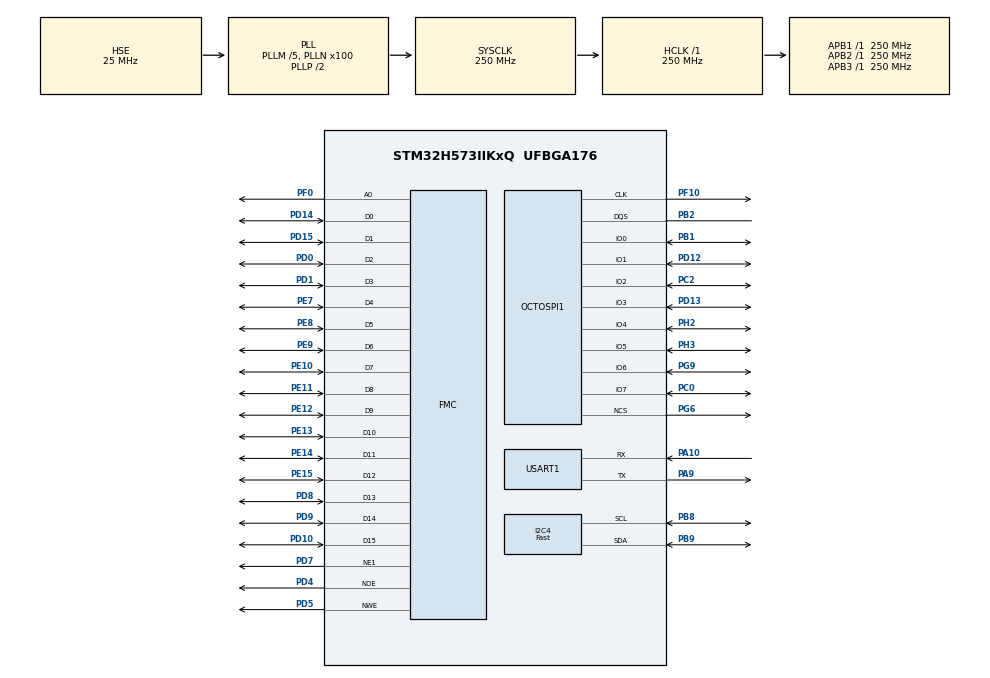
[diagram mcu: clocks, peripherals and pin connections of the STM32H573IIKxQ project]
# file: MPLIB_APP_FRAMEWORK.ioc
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BOOTPATH.BootPathName=LEGACY
BOOTPATH.UserSelectedBootPath=LEGACY
CORTEX_M33_NS.AccessPermission-Cortex_Memory_Protection_Unit_Region0_Settings=MPU_REGION_ALL_RW
CORTEX_M33_NS.Attributes0=MPU_ATTRIBUTES_NUMBER0
CORTEX_M33_NS.AttributesIndex-Cortex_Memory_Protection_Unit_Region0_Settings=MPU_ATTRIBUTES_NUMBER0
CORTEX_M33_NS.BaseAddress-Cortex_Memory_Protection_Unit_Region0_Settings=0x60000000
CORTEX_M33_NS.DisableExec-Cortex_Memory_Protection_Unit_Region0_Settings=MPU_INSTRUCTION_ACCESS_DISABLE
CORTEX_M33_NS.Enable-Cortex_Memory_Protection_Unit_Region0_Settings=MPU_REGION_ENABLE
CORTEX_M33_NS.LimitAddress-Cortex_Memory_Protection_Unit_Region0_Settings=0x60000004
CORTEX_M33_NS.MPU_Control=MPU_PRIVILEGED_DEFAULT
CORTEX_M33_NS.userName=CORTEX_M33
FMC.AddressSetupTime1=10
FMC.BusTurnAroundDuration1=4
FMC.DataHoldTime1=2
FMC.DataSetupTime1=7
FMC.WriteFifo1=FMC_WRITE_FIFO_DISABLE
FMC.WriteFifo2=FMC_WRITE_FIFO_DISABLE
FMC.WriteFifo3=FMC_WRITE_FIFO_DISABLE
FMC.WriteFifo4=FMC_WRITE_FIFO_DISABLE
GPDMA2.PRIORITY_LL_GPDMACH6=DMA_HIGH_PRIORITY
I2C4.I2C_Speed_Mode=I2C_Fast
I2C4.Timing=0x10C043E5
Mcu.Family=STM32H5
Mcu.Name=STM32H573IIKxQ
Mcu.Package=UFBGA176
NVIC.GPDMA2_Channel6_IRQn=true\:0\:0\:false\:false\:true\:false\:true\:true\:true
NVIC.PriorityGroup=NVIC_PRIORITYGROUP_4
NVIC.TIM6_IRQn=true\:7\:0\:true\:false\:true\:false\:false\:true\:true
NVIC.TimeBase=TIM6_IRQn
NVIC.TimeBaseIP=TIM6
OCTOSPI1.ChipSelectHighTimeCycle=2
OCTOSPI1.ClockPrescaler=1
OCTOSPI1.DelayBlockBypass=HAL_XSPI_DELAY_BLOCK_ON
OCTOSPI1.DelayHoldQuarterCycle=HAL_XSPI_DHQC_ENABLE
OCTOSPI1.MemorySize=HAL_XSPI_SIZE_64B
OCTOSPI1.MemoryType=HAL_XSPI_MEMTYPE_MACRONIX
PA10.Mode=Asynchronous
PA10.Signal=USART1_RX
PA9.Mode=Asynchronous
PA9.Signal=USART1_TX
PB1.Mode=OCTOSPI1_IO_Octo
PB1.Signal=OCTOSPI1_IO0
PB2.Mode=octods_mode
PB2.Signal=OCTOSPI1_DQS
PB8.Mode=I2C
PB8.Signal=I2C4_SCL
PB9.Mode=I2C
PB9.Signal=I2C4_SDA
PC0.Mode=OCTOSPI1_IO_Octo
PC0.Signal=OCTOSPI1_IO7
PC2.Mode=OCTOSPI1_IO_Octo
PC2.Signal=OCTOSPI1_IO2
PD0.Signal=FMC_D2_DA2
PD1.Signal=FMC_D3_DA3
PD10.Signal=FMC_D15_DA15
PD12.Mode=OCTOSPI1_IO_Octo
PD12.Signal=OCTOSPI1_IO1
PD13.Mode=OCTOSPI1_IO_Octo
PD13.Signal=OCTOSPI1_IO3
PD14.Signal=FMC_D0_DA0
PD15.Signal=FMC_D1_DA1
PD4.Signal=FMC_NOE
PD5.Signal=FMC_NWE
PD7.Mode=NorPsramChipSelect1_1
PD7.Signal=FMC_NE1
PD8.Signal=FMC_D13_DA13
PD9.Signal=FMC_D14_DA14
PE10.Signal=FMC_D7_DA7
PE11.Signal=FMC_D8_DA8
PE12.Signal=FMC_D9_DA9
PE13.Signal=FMC_D10_DA10
PE14.Signal=FMC_D11_DA11
PE15.Signal=FMC_D12_DA12
PE7.Signal=FMC_D4_DA4
PE8.Signal=FMC_D5_DA5
PE9.Signal=FMC_D6_DA6
PF0.Signal=FMC_A0
PF10.Mode=octods_mode
PF10.Signal=OCTOSPI1_CLK
PG6.Mode=octods_mode
PG6.Signal=OCTOSPI1_NCS
PG9.Mode=OCTOSPI1_IO_Octo
PG9.Signal=OCTOSPI1_IO6
PH0-OSC_IN(PH0).Mode=HSE-External-Clock-Source
PH0-OSC_IN(PH0).Signal=RCC_OSC_IN
PH2.Mode=OCTOSPI1_IO_Octo
PH2.Signal=OCTOSPI1_IO4
PH3.Mode=OCTOSPI1_IO_Octo
PH3.Signal=OCTOSPI1_IO5
ProjectManager.HeapSize=0x200
ProjectManager.StackSize=0x400
ProjectManager.TargetToolchain=STM32CubeIDE
RCC.ADCFreq_Value=250000000
RCC.AHBFreq_Value=250000000
RCC.APB1Freq_Value=250000000
RCC.APB1TimFreq_Value=250000000
RCC.APB2Freq_Value=250000000
RCC.APB2TimFreq_Value=250000000
RCC.APB3Freq_Value=250000000
RCC.CSI_VALUE=4000000
RCC.CortexFreq_Value=250000000
RCC.EPOD_VALUE=25000000
RCC.HCLKFreq_Value=250000000
RCC.HSE_VALUE=25000000
RCC.HSI48_VALUE=48000000
RCC.HSIDiv=RCC_HSI_DIV1
RCC.HSI_VALUE=64000000
RCC.LSE_VALUE=32768
RCC.LSIRC_VALUE=32000
RCC.PLLM=5
RCC.PLLN=100
RCC.PLLSourceVirtual=RCC_PLL1_SOURCE_HSE
RCC.SYSCLKFreq_VALUE=250000000
RCC.SYSCLKSource=RCC_SYSCLKSOURCE_PLLCLK
RCC.USBFreq_Value=48000000
RCC.VCOOutputFreq_Value=500000000
SAES.KeyMode=CRYP_KEYMODE_WRAPPED
SAES.KeySelect=CRYP_KEYSEL_HW
SAES.KeySize=CRYP_KEYSIZE_256B
SH.FMC_A0.0=FMC_A0,A0_1
SH.FMC_D0_DA0.0=FMC_D0,16b-d1
SH.FMC_D10_DA10.0=FMC_D10,16b-d1
SH.FMC_D11_DA11.0=FMC_D11,16b-d1
SH.FMC_D12_DA12.0=FMC_D12,16b-d1
SH.FMC_D13_DA13.0=FMC_D13,16b-d1
SH.FMC_D14_DA14.0=FMC_D14,16b-d1
SH.FMC_D15_DA15.0=FMC_D15,16b-d1
SH.FMC_D1_DA1.0=FMC_D1,16b-d1
SH.FMC_D2_DA2.0=FMC_D2,16b-d1
SH.FMC_D3_DA3.0=FMC_D3,16b-d1
SH.FMC_D4_DA4.0=FMC_D4,16b-d1
SH.FMC_D5_DA5.0=FMC_D5,16b-d1
SH.FMC_D6_DA6.0=FMC_D6,16b-d1
SH.FMC_D7_DA7.0=FMC_D7,16b-d1
SH.FMC_D8_DA8.0=FMC_D8,16b-d1
SH.FMC_D9_DA9.0=FMC_D9,16b-d1
SH.FMC_NOE.0=FMC_NOE,Lcd1
SH.FMC_NWE.0=FMC_NWE,Lcd1
STMicroelectronics.X-CUBE-TOUCHGFX.4.24.2.ApplicationCcGraphicsJjApplication=TouchGFXOoGenerator
STMicroelectronics.X-CUBE-TOUCHGFX.4.24.2.tgfx_buffering_strategy=Double
STMicroelectronics.X-CUBE-TOUCHGFX.4.24.2.tgfx_custom_height=240
STMicroelectronics.X-CUBE-TOUCHGFX.4.24.2.tgfx_custom_width=240
STMicroelectronics.X-CUBE-TOUCHGFX.4.24.2.tgfx_display_interface=disp_fmc
STMicroelectronics.X-CUBE-TOUCHGFX.4.24.2.tgfx_oswrapper=ThreadX
STMicroelectronics.X-CUBE-TOUCHGFX.4.24.2.tgfx_vector_fonts=Enabled
STMicroelectronics.X-CUBE-TOUCHGFX.4.24.2.tgfx_vector_rendering=Software
STMicroelectronics.X-CUBE-TOUCHGFX.4.24.2_IsPackSelfContextualization=true
THREADX.TX_APP_CREATION=1
THREADX.TX_APP_GENERATE_INIT_CODE=true
THREADX.TX_APP_THREAD_ENTRY=StartDefaultTask
USART1.VirtualMode-Asynchronous=VM_ASYNC
USART1.WordLength=WORDLENGTH_8B
VP_BOOTPATH_VS_BOOTPATH.Mode=BP_Activate
VP_CORTEX_M33_NS_VS_Hclk.Mode=Hclk_Mode
VP_CRC_VS_CRC.Mode=CRC_Activate
VP_DCACHE1_VS_DCACHE.Mode=DCACHE_Activate
VP_GPDMA2_VS_GPDMACH6.Mode=LINKEDLIST_GPDMACH6
VP_ICACHE_VS_ICACHE.Mode=DefaultMode
VP_MEMORYMAP_VS_MEMORYMAP.Mode=CurAppReg
VP_PWR_VS_LPOM.Mode=PowerOptimisation
VP_PWR_VS_SECSignals.Mode=Security/Privilege
VP_RNG_VS_RNG.Mode=RNG_Activate
VP_SAES_VS_SAES.Mode=SAES_Activate
VP_STMicroelectronics.X-CUBE-TOUCHGFX_VS_GraphicsJjApplication_4.24.2.Mode=GraphicsJjApplication
VP_SYS_VS_tim6.Mode=TIM6
VP_THREADX_VS_RTOSJjThreadXJjCoreJjDefault.Mode=Core_Default
board=STM32H573I-DK

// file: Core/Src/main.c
/* USER CODE BEGIN Header */
/**
  ******************************************************************************
  * @file           : main.c
  * @brief          : Main program body
  ******************************************************************************
  * @attention
  *
  * Copyright (c) 2025 STMicroelectronics.
  * All rights reserved.
  *
  * This software is licensed under terms that can be found in the LICENSE file
  * in the root directory of this software component.
  * If no LICENSE file comes with this software, it is provided AS-IS.
  *
  ******************************************************************************
  */
/* USER CODE END Header */
#include "app_threadx.h"
#include "main.h"
#include "app_touchgfx.h"

/* USER CODE BEGIN Includes */
#include "../../BSP/Components/mx25lm51245g/mx25lm51245g.h"
#include <stdio.h>
#include <stdint.h>
#include <inttypes.h>
#if defined(__ICCARM__)
#include <LowLevelIOInterface.h>
#endif /* (__ICCARM__) */

/* USER CODE END Includes */

CRC_HandleTypeDef hcrc;

DCACHE_HandleTypeDef hdcache1;

DMA_HandleTypeDef handle_GPDMA2_Channel6;

I2C_HandleTypeDef hi2c4;

XSPI_HandleTypeDef hospi1;

RNG_HandleTypeDef hrng;

CRYP_HandleTypeDef hcryp;

UART_HandleTypeDef huart1;

SRAM_HandleTypeDef hsram1;

void SystemClock_Config(void);
static void MPU_Config(void);
static void MX_GPIO_Init(void);
static void MX_GPDMA2_Init(void);
static void MX_ICACHE_Init(void);
static void MX_RNG_Init(void);
static void MX_SAES_AES_Init(void);
static void MX_USART1_UART_Init(void);
static void MX_CRC_Init(void);
static void MX_FMC_Init(void);
static void MX_DCACHE1_Init(void);
static void MX_OCTOSPI1_Init(void);
static void MX_I2C4_Init(void);
/* USER CODE BEGIN PFP */
#define PUTCHAR_PROTOTYPE int __io_putchar(int ch)
/* USER CODE END PFP */

int main(void)
{

  /* MCU Configuration--------------------------------------------------------*/

  /* MPU Configuration--------------------------------------------------------*/
  MPU_Config();

  /* Reset of all peripherals, Initializes the Flash interface and the Systick. */
  HAL_Init();

  /* Configure the system clock */
  SystemClock_Config();

  /* USER CODE BEGIN SysInit */
  BSP_LED_Init(LED4);
  BSP_LED_Init(LED3);
  BSP_LED_Init(LED2);
  BSP_LED_Init(LED1);
  /* USER CODE END SysInit */

  /* Initialize all configured peripherals */
  MX_GPIO_Init();
  MX_GPDMA2_Init();
  MX_CRC_Init();
  MX_ICACHE_Init();
  MX_I2C4_Init();
  MX_FMC_Init();
  MX_OCTOSPI1_Init();
  MX_DCACHE1_Init();
  MX_USART1_UART_Init();
  MX_RNG_Init();
  MX_SAES_AES_Init();
  /* Call PreOsInit function */
  MX_TouchGFX_PreOSInit();
  /* USER CODE BEGIN 2 */
  printf("MAIN ON\n");
  HAL_Delay(500);
  BSP_LED_On(LED1);
  HAL_Delay(500);
  BSP_LED_On(LED2);
  HAL_Delay(500);
  BSP_LED_On(LED3);
  HAL_Delay(500);
  BSP_LED_On(LED4);
  /* USER CODE END 2 */

  MX_ThreadX_Init();

  /* We should never get here as control is now taken by the scheduler */

  /* Infinite loop */
  while (1)
  {

  }
}

void SystemClock_Config(void)
{
  RCC_OscInitTypeDef RCC_OscInitStruct = {0};
  RCC_ClkInitTypeDef RCC_ClkInitStruct = {0};

  /** Configure the main internal regulator output voltage
  */
  __HAL_PWR_VOLTAGESCALING_CONFIG(PWR_REGULATOR_VOLTAGE_SCALE0);

  while(!__HAL_PWR_GET_FLAG(PWR_FLAG_VOSRDY)) {}

  /** Initializes the RCC Oscillators according to the specified parameters
  * in the RCC_OscInitTypeDef structure.
  */
  RCC_OscInitStruct.OscillatorType = RCC_OSCILLATORTYPE_HSI48|RCC_OSCILLATORTYPE_HSE;
  RCC_OscInitStruct.HSEState = RCC_HSE_BYPASS;
  RCC_OscInitStruct.HSI48State = RCC_HSI48_ON;
  RCC_OscInitStruct.PLL.PLLState = RCC_PLL_ON;
  RCC_OscInitStruct.PLL.PLLSource = RCC_PLL1_SOURCE_HSE;
  RCC_OscInitStruct.PLL.PLLM = 5;
  RCC_OscInitStruct.PLL.PLLN = 100;
  RCC_OscInitStruct.PLL.PLLP = 2;
  RCC_OscInitStruct.PLL.PLLQ = 2;
  RCC_OscInitStruct.PLL.PLLR = 2;
  RCC_OscInitStruct.PLL.PLLRGE = RCC_PLL1_VCIRANGE_2;
  RCC_OscInitStruct.PLL.PLLVCOSEL = RCC_PLL1_VCORANGE_WIDE;
  RCC_OscInitStruct.PLL.PLLFRACN = 0;
  if (HAL_RCC_OscConfig(&RCC_OscInitStruct) != HAL_OK)
  {
    Error_Handler();
  }

  /** Initializes the CPU, AHB and APB buses clocks
  */
  RCC_ClkInitStruct.ClockType = RCC_CLOCKTYPE_HCLK|RCC_CLOCKTYPE_SYSCLK
                              |RCC_CLOCKTYPE_PCLK1|RCC_CLOCKTYPE_PCLK2
                              |RCC_CLOCKTYPE_PCLK3;
  RCC_ClkInitStruct.SYSCLKSource = RCC_SYSCLKSOURCE_PLLCLK;
  RCC_ClkInitStruct.AHBCLKDivider = RCC_SYSCLK_DIV1;
  RCC_ClkInitStruct.APB1CLKDivider = RCC_HCLK_DIV1;
  RCC_ClkInitStruct.APB2CLKDivider = RCC_HCLK_DIV1;
  RCC_ClkInitStruct.APB3CLKDivider = RCC_HCLK_DIV1;

  if (HAL_RCC_ClockConfig(&RCC_ClkInitStruct, FLASH_LATENCY_5) != HAL_OK)
  {
    Error_Handler();
  }

  /** Configure the programming delay
  */
  __HAL_FLASH_SET_PROGRAM_DELAY(FLASH_PROGRAMMING_DELAY_2);
}

static void MX_CRC_Init(void)
{

  hcrc.Instance = CRC;
  hcrc.Init.DefaultPolynomialUse = DEFAULT_POLYNOMIAL_ENABLE;
  hcrc.Init.DefaultInitValueUse = DEFAULT_INIT_VALUE_ENABLE;
  hcrc.Init.InputDataInversionMode = CRC_INPUTDATA_INVERSION_NONE;
  hcrc.Init.OutputDataInversionMode = CRC_OUTPUTDATA_INVERSION_DISABLE;
  hcrc.InputDataFormat = CRC_INPUTDATA_FORMAT_BYTES;
  if (HAL_CRC_Init(&hcrc) != HAL_OK)
  {
    Error_Handler();
  }

}

static void MX_DCACHE1_Init(void)
{

  hdcache1.Instance = DCACHE1;
  hdcache1.Init.ReadBurstType = DCACHE_READ_BURST_WRAP;
  if (HAL_DCACHE_Init(&hdcache1) != HAL_OK)
  {
    Error_Handler();
  }

}

static void MX_GPDMA2_Init(void)
{

  /* Peripheral clock enable */
  __HAL_RCC_GPDMA2_CLK_ENABLE();

  /* GPDMA2 interrupt Init */
    HAL_NVIC_SetPriority(GPDMA2_Channel6_IRQn, 0, 0);
    HAL_NVIC_EnableIRQ(GPDMA2_Channel6_IRQn);

  handle_GPDMA2_Channel6.Instance = GPDMA2_Channel6;
  handle_GPDMA2_Channel6.InitLinkedList.Priority = DMA_HIGH_PRIORITY;
  handle_GPDMA2_Channel6.InitLinkedList.LinkStepMode = DMA_LSM_FULL_EXECUTION;
  handle_GPDMA2_Channel6.InitLinkedList.LinkAllocatedPort = DMA_LINK_ALLOCATED_PORT0;
  handle_GPDMA2_Channel6.InitLinkedList.TransferEventMode = DMA_TCEM_LAST_LL_ITEM_TRANSFER;
  handle_GPDMA2_Channel6.InitLinkedList.LinkedListMode = DMA_LINKEDLIST_NORMAL;
  if (HAL_DMAEx_List_Init(&handle_GPDMA2_Channel6) != HAL_OK)
  {
    Error_Handler();
  }
  if (HAL_DMA_ConfigChannelAttributes(&handle_GPDMA2_Channel6, DMA_CHANNEL_NPRIV) != HAL_OK)
  {
    Error_Handler();
  }

}

static void MX_I2C4_Init(void)
{

  hi2c4.Instance = I2C4;
  hi2c4.Init.Timing = 0x10C043E5;
  hi2c4.Init.OwnAddress1 = 0;
  hi2c4.Init.AddressingMode = I2C_ADDRESSINGMODE_7BIT;
  hi2c4.Init.DualAddressMode = I2C_DUALADDRESS_DISABLE;
  hi2c4.Init.OwnAddress2 = 0;
  hi2c4.Init.OwnAddress2Masks = I2C_OA2_NOMASK;
  hi2c4.Init.GeneralCallMode = I2C_GENERALCALL_DISABLE;
  hi2c4.Init.NoStretchMode = I2C_NOSTRETCH_DISABLE;
  if (HAL_I2C_Init(&hi2c4) != HAL_OK)
  {
    Error_Handler();
  }

  /** Configure Analogue filter
  */
  if (HAL_I2CEx_ConfigAnalogFilter(&hi2c4, I2C_ANALOGFILTER_ENABLE) != HAL_OK)
  {
    Error_Handler();
  }

  /** Configure Digital filter
  */
  if (HAL_I2CEx_ConfigDigitalFilter(&hi2c4, 0) != HAL_OK)
  {
    Error_Handler();
  }

}

static void MX_ICACHE_Init(void)
{

  /** Enable instruction cache (default 2-ways set associative cache)
  */
  if (HAL_ICACHE_Enable() != HAL_OK)
  {
    Error_Handler();
  }

}

static void MX_OCTOSPI1_Init(void)
{

  HAL_XSPI_DLYB_CfgTypeDef HAL_OSPI_DLYB_Cfg_Struct = {0};

  /* OCTOSPI1 parameter configuration*/
  hospi1.Instance = OCTOSPI1;
  hospi1.Init.FifoThresholdByte = 1;
  hospi1.Init.MemoryMode = HAL_XSPI_SINGLE_MEM;
  hospi1.Init.MemoryType = HAL_XSPI_MEMTYPE_MACRONIX;
  hospi1.Init.MemorySize = HAL_XSPI_SIZE_64B;
  hospi1.Init.ChipSelectHighTimeCycle = 2;
  hospi1.Init.FreeRunningClock = HAL_XSPI_FREERUNCLK_DISABLE;
  hospi1.Init.ClockMode = HAL_XSPI_CLOCK_MODE_0;
  hospi1.Init.WrapSize = HAL_XSPI_WRAP_NOT_SUPPORTED;
  hospi1.Init.ClockPrescaler = 1;
  hospi1.Init.SampleShifting = HAL_XSPI_SAMPLE_SHIFT_NONE;
  hospi1.Init.DelayHoldQuarterCycle = HAL_XSPI_DHQC_ENABLE;
  hospi1.Init.ChipSelectBoundary = HAL_XSPI_BONDARYOF_NONE;
  hospi1.Init.DelayBlockBypass = HAL_XSPI_DELAY_BLOCK_ON;
  hospi1.Init.Refresh = 0;
  if (HAL_XSPI_Init(&hospi1) != HAL_OK)
  {
    Error_Handler();
  }
  HAL_OSPI_DLYB_Cfg_Struct.Units = 0;
  HAL_OSPI_DLYB_Cfg_Struct.PhaseSel = 0;
  if (HAL_XSPI_DLYB_SetConfig(&hospi1, &HAL_OSPI_DLYB_Cfg_Struct) != HAL_OK)
  {
    Error_Handler();
  }

}

static void MX_RNG_Init(void)
{

  hrng.Instance = RNG;
  hrng.Init.ClockErrorDetection = RNG_CED_ENABLE;
  if (HAL_RNG_Init(&hrng) != HAL_OK)
  {
    Error_Handler();
  }

}

static void MX_SAES_AES_Init(void)
{

  hcryp.Instance = SAES;
  hcryp.Init.DataType = CRYP_NO_SWAP;
  hcryp.Init.KeySize = CRYP_KEYSIZE_256B;
  hcryp.Init.Algorithm = CRYP_AES_ECB;
  hcryp.Init.DataWidthUnit = CRYP_DATAWIDTHUNIT_WORD;
  hcryp.Init.HeaderWidthUnit = CRYP_HEADERWIDTHUNIT_WORD;
  hcryp.Init.KeyIVConfigSkip = CRYP_KEYIVCONFIG_ALWAYS;
  hcryp.Init.KeyMode = CRYP_KEYMODE_WRAPPED;
  hcryp.Init.KeySelect = CRYP_KEYSEL_HW;
  hcryp.Init.KeyProtection = CRYP_KEYPROT_DISABLE;
  if (HAL_CRYP_Init(&hcryp) != HAL_OK)
  {
    Error_Handler();
  }

}

static void MX_USART1_UART_Init(void)
{

  huart1.Instance = USART1;
  huart1.Init.BaudRate = 115200;
  huart1.Init.WordLength = UART_WORDLENGTH_8B;
  huart1.Init.StopBits = UART_STOPBITS_1;
  huart1.Init.Parity = UART_PARITY_NONE;
  huart1.Init.Mode = UART_MODE_TX_RX;
  huart1.Init.HwFlowCtl = UART_HWCONTROL_NONE;
  huart1.Init.OverSampling = UART_OVERSAMPLING_16;
  huart1.Init.OneBitSampling = UART_ONE_BIT_SAMPLE_DISABLE;
  huart1.Init.ClockPrescaler = UART_PRESCALER_DIV1;
  huart1.AdvancedInit.AdvFeatureInit = UART_ADVFEATURE_NO_INIT;
  if (HAL_UART_Init(&huart1) != HAL_OK)
  {
    Error_Handler();
  }
  if (HAL_UARTEx_SetTxFifoThreshold(&huart1, UART_TXFIFO_THRESHOLD_1_8) != HAL_OK)
  {
    Error_Handler();
  }
  if (HAL_UARTEx_SetRxFifoThreshold(&huart1, UART_RXFIFO_THRESHOLD_1_8) != HAL_OK)
  {
    Error_Handler();
  }
  if (HAL_UARTEx_DisableFifoMode(&huart1) != HAL_OK)
  {
    Error_Handler();
  }

}

/* FMC initialization function */
static void MX_FMC_Init(void)
{

  FMC_NORSRAM_TimingTypeDef Timing = {0};

  /** Perform the SRAM1 memory initialization sequence
  */
  hsram1.Instance = FMC_NORSRAM_DEVICE;
  hsram1.Extended = FMC_NORSRAM_EXTENDED_DEVICE;
  /* hsram1.Init */
  hsram1.Init.NSBank = FMC_NORSRAM_BANK1;
  hsram1.Init.DataAddressMux = FMC_DATA_ADDRESS_MUX_DISABLE;
  hsram1.Init.MemoryType = FMC_MEMORY_TYPE_SRAM;
  hsram1.Init.MemoryDataWidth = FMC_NORSRAM_MEM_BUS_WIDTH_16;
  hsram1.Init.BurstAccessMode = FMC_BURST_ACCESS_MODE_DISABLE;
  hsram1.Init.WaitSignalPolarity = FMC_WAIT_SIGNAL_POLARITY_LOW;
  hsram1.Init.WaitSignalActive = FMC_WAIT_TIMING_BEFORE_WS;
  hsram1.Init.WriteOperation = FMC_WRITE_OPERATION_ENABLE;
  hsram1.Init.WaitSignal = FMC_WAIT_SIGNAL_DISABLE;
  hsram1.Init.ExtendedMode = FMC_EXTENDED_MODE_DISABLE;
  hsram1.Init.AsynchronousWait = FMC_ASYNCHRONOUS_WAIT_DISABLE;
  hsram1.Init.WriteBurst = FMC_WRITE_BURST_DISABLE;
  hsram1.Init.ContinuousClock = FMC_CONTINUOUS_CLOCK_SYNC_ONLY;
  hsram1.Init.WriteFifo = FMC_WRITE_FIFO_DISABLE;
  hsram1.Init.NBLSetupTime = 0;
  hsram1.Init.PageSize = FMC_PAGE_SIZE_NONE;
  hsram1.Init.MaxChipSelectPulse = DISABLE;
  /* Timing */
  Timing.AddressSetupTime = 10;
  Timing.AddressHoldTime = 15;
  Timing.DataSetupTime = 7;
  Timing.DataHoldTime = 2;
  Timing.BusTurnAroundDuration = 4;
  Timing.CLKDivision = 16;
  Timing.DataLatency = 17;
  Timing.AccessMode = FMC_ACCESS_MODE_A;
  /* ExtTiming */

  if (HAL_SRAM_Init(&hsram1, &Timing, NULL) != HAL_OK)
  {
    Error_Handler( );
  }

}

static void MX_GPIO_Init(void)
{

  /* GPIO Ports Clock Enable */
  __HAL_RCC_GPIOB_CLK_ENABLE();
  __HAL_RCC_GPIOD_CLK_ENABLE();
  __HAL_RCC_GPIOG_CLK_ENABLE();
  __HAL_RCC_GPIOA_CLK_ENABLE();
  __HAL_RCC_GPIOF_CLK_ENABLE();
  __HAL_RCC_GPIOH_CLK_ENABLE();
  __HAL_RCC_GPIOC_CLK_ENABLE();
  __HAL_RCC_GPIOE_CLK_ENABLE();

}

/* USER CODE BEGIN 4 */
/**
  * @brief  Retargets the C library printf function to the USART.
  *   None
  * @retval None
  */
PUTCHAR_PROTOTYPE
{
  /* Place your implementation of fputc here */
  /* e.g. write a character to the USART1 and Loop until the end of transmission */
  HAL_UART_Transmit(&huart1, (uint8_t *)&ch, 1, 0xFFFF);

  return ch;
}
/* USER CODE END 4 */

 /* MPU Configuration */

void MPU_Config(void)
{
  MPU_Region_InitTypeDef MPU_InitStruct = {0};
  MPU_Attributes_InitTypeDef MPU_AttributesInit = {0};

  /* Disables the MPU */
  HAL_MPU_Disable();

  /** Initializes and configures the Region 0 and the memory to be protected
  */
  MPU_InitStruct.Enable = MPU_REGION_ENABLE;
  MPU_InitStruct.Number = MPU_REGION_NUMBER0;
  MPU_InitStruct.BaseAddress = 0x60000000;
  MPU_InitStruct.LimitAddress = 0x60000004;
  MPU_InitStruct.AttributesIndex = MPU_ATTRIBUTES_NUMBER0;
  MPU_InitStruct.AccessPermission = MPU_REGION_ALL_RW;
  MPU_InitStruct.DisableExec = MPU_INSTRUCTION_ACCESS_DISABLE;
  MPU_InitStruct.IsShareable = MPU_ACCESS_NOT_SHAREABLE;

  HAL_MPU_ConfigRegion(&MPU_InitStruct);

  /** Initializes and configures the Attribute 0 and the memory to be protected
  */
  MPU_AttributesInit.Number = MPU_ATTRIBUTES_NUMBER0;
  MPU_AttributesInit.Attributes = INNER_OUTER(MPU_NOT_CACHEABLE);

  HAL_MPU_ConfigMemoryAttributes(&MPU_AttributesInit);
  /* Enables the MPU */
  HAL_MPU_Enable(MPU_PRIVILEGED_DEFAULT);

}

void HAL_TIM_PeriodElapsedCallback(TIM_HandleTypeDef *htim)
{
  if (htim->Instance == TIM6)
  {
    HAL_IncTick();
  }
}

void Error_Handler(void)
{
  __disable_irq();
  while (1)
  {
  }
}
